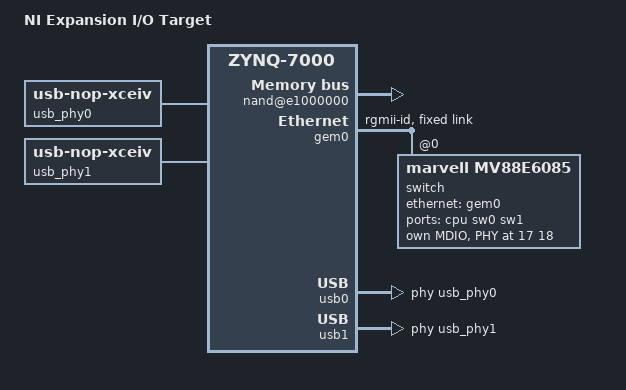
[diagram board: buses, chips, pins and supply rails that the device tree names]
// SPDX-License-Identifier: GPL-2.0
/*
 * Copyright (C) 2016 - 2018 National Instruments
 */

/include/ "zynq-7000.dtsi"

/ {
	model = "NI Expansion I/O Target";
	compatible = "ni,zynq-expio", "xlnx,zynq-7000";

	/* Populated by the bootloader */
	memory@0 {
		device_type = "memory";
		reg = <0 0>;
	};
	chosen { };

	usb_phy0: phy0 {
		compatible = "usb-nop-xceiv";
		#phy-cells = <0>;
	};

	usb_phy1: phy1 {
		compatible = "usb-nop-xceiv";
		#phy-cells = <0>;
	};

	amba {
		smcc@e000e000 {
			#address-cells = <1>;
			#size-cells = <1>;
			arm,addr25 = <0x0>;
			arm,nor-chip-sel0 = <0x0>;
			arm,nor-chip-sel1 = <0x0>;
			arm,sram-chip-sel0 = <0x0>;
			arm,sram-chip-sel1 = <0x0>;
			clock-names = "memclk", "aclk";
			clocks = <&clkc 11>, <&clkc 44>;
			compatible = "arm,pl353-smc-r2p1";
			interrupts = <0 18 4>;
			ranges ;
			reg = <0xe000e000 0x1000>;
			nand@e1000000 {
				compatible = "arm,pl353-nand-r2p1";
				reg = <0xe1000000 0x1000000>;
				bank-width = <1>; /* 8-bit width */
				xlnx,nand-width = <0x8>;

				/* SLCR SMC_CLK_CTRL value, 83MHz clock, 12ns cycle time */
				/* <t_rr t_ar t_clr t_wp t_rea t_wc t_rc> in cycles */
				xlnx,onfi-mode0 = <0x0001021 4 3 2 7 4 10 10>;

				/* SLCR SMC_CLK_CTRL value, 166MHz clock, 6ns cycle time */
				/* <t_rr t_ar t_clr t_wp t_rea t_wc t_rc> in cycles */
				xlnx,onfi-mode1 = <0x0000821 4 2 2 7 4 10 10>;
				xlnx,onfi-mode2 = <0x0000821 4 2 2 5 3 8 7>;
				xlnx,onfi-mode3 = <0x0000821 4 2 2 5 2 7 6>;
				xlnx,onfi-mode4 = <0x0000821 4 2 2 4 2 6 5>;
				xlnx,onfi-mode5 = <0x0000821 4 2 2 3 2 5 4>;

				#address-cells = <1>;
				#size-cells = <1>;
			};
		};
	};

};

&L2 {
	prefetch-data = <1>;
	prefetch-instr = <1>;
	arm,dynamic-clock-gating = <0>;
	arm,standby-mode = <0>;
};

&gem0 {
	#address-cells = <1>;
	#size-cells = <0>;
	phy-mode = "rgmii-id";

	fixed-link {
		speed = <1000>;
		full-duplex;
	};

	/*
	 * All NI Expansion I/O devices have a two-port Ethernet switch
	 * connected to the CPU's Ethernet controller.
	 */
	switch@0 {
		compatible = "marvell,mv88e6085";
		#address-cells = <1>;
		#size-cells = <0>;
		reg = <0>;

		dsa,member = <0 0>;

		ports {
			#address-cells = <1>;
			#size-cells = <0>;

			port@0 {
				reg = <0>;
				label = "cpu";
				ethernet = <&gem0>;

				fixed-link {
					speed = <1000>;
					full-duplex;
				};
			};

			port@1 {
				reg = <1>;
				label = "sw0";
				phy-handle = <&switch0phy0>;
			};

			port@2 {
				reg = <2>;
				label = "sw1";
				phy-handle = <&switch0phy1>;
			};
		};

		mdio {
			#address-cells = <1>;
			#size-cells = <0>;

			switch0phy0: switch0phy0@11 {
				reg = <0x11>;
			};
			switch0phy1: switch0phy1@12 {
				reg = <0x12>;
			};
		};
	};
};

&usb0 {
	usb-phy = <&usb_phy0>;
};

&usb1 {
	usb-phy = <&usb_phy1>;
};
